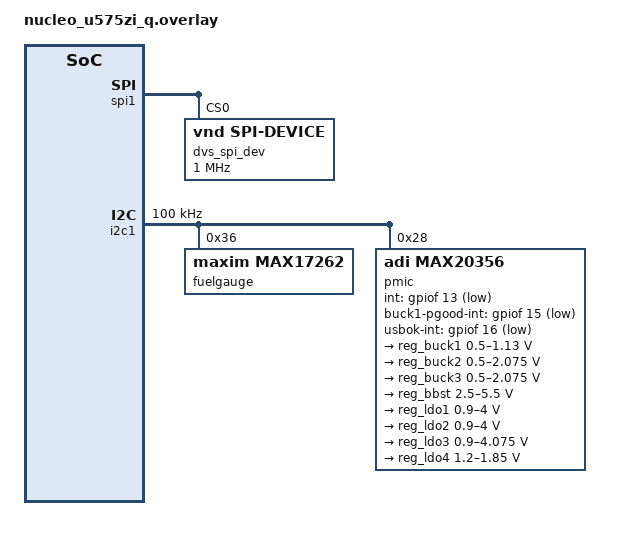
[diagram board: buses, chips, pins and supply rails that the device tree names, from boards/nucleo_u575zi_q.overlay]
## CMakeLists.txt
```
# SPDX-License-Identifier: Apache-2.0

cmake_minimum_required(VERSION 3.28.0)
find_package(Zephyr REQUIRED HINTS $ENV{ZEPHYR_BASE})
project(mfd_max20356)

FILE(GLOB app_sources src/*.c)
target_sources(app PRIVATE ${app_sources})
```

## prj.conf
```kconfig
CONFIG_PM_DEVICE=y
CONFIG_STDOUT_CONSOLE=y
CONFIG_CBPRINTF_FP_SUPPORT=y
CONFIG_I2C=y
CONFIG_MFD=y
CONFIG_GPIO=y
CONFIG_CHARGER=y
CONFIG_SENSOR=y
CONFIG_REGULATOR=y
CONFIG_SPI=y
CONFIG_MAX20356_TRIGGER_OWN_THREAD=y
CONFIG_LOG_DEFAULT_LEVEL=4
```

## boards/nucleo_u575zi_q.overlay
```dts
/*
 * Copyright (c) 2026 Analog Devices Inc
 *
 * SPDX-License-Identifier: Apache-2.0
 *
 * Hardware configuration spec for the MAX20356 PMIC validation sample. Every
 * rail of the part is instantiated and a broad subset of the device-, charger-
 * and regulator-level init options is exercised so a probe can confirm the I2C
 * writes reached the chip.
 *
 * DVS: buck1/buck3 use I2C DVS (Mode 0) so their setpoint is software-driven and
 * probe-able; buck2 uses GPIO DVS (Mode 1) with an MPC pin pair selecting one of
 * four presets. SPI DVS (Mode 2) is intentionally not used here as it needs
 * MPC0/1/2 wired to an SPI controller.
 *
 * Each lockable rail (bucks, buck-boost, LDOs) sets adi,lock-enable so the
 * driver wraps register writes in the password sequence; this guarantees the
 * writes land even if the rail powered up OTP-locked, so a return of 0 from the
 * regulator API means the register actually changed.
 */

#include <zephyr/dt-bindings/i2c/i2c.h>
#include <zephyr/dt-bindings/mfd/max20356.h>

/* SPI DVS (Mode 2) target for buck3. On hardware the controller's CS/SCLK/DIN
 * must be wired to the PMIC's MPC0/MPC1/MPC2 pins. CONFIG_SPI must be set so the
 * SPI controller driver is built; otherwise SPI_DT_SPEC_GET references an
 * undefined controller device struct and the link fails.
 */
&spi1 {
	status = "okay";

	dvs_spi_dev: dvs-spi-dev@0 {
		compatible = "vnd,spi-device";
		reg = <0>;
		spi-max-frequency = <1000000>;
	};
};

dev: &i2c1 {
	status = "okay";
	clock-frequency = <I2C_BITRATE_STANDARD>;

	fuelgauge: max17262@36 {
		compatible = "maxim,max17262";
		reg = <0x36>;
		design-voltage = <3600>;
		desired-voltage = <3600>;
		desired-charging-current = <2000>;
		design-cap = <17000>;
		empty-voltage = <3300>;
		recovery-voltage = <3880>;
		charge-voltage = <3600>;
		status = "okay";
	};

	pmic: max20356@28 {
		compatible = "adi,max20356";
		reg = <0x28>;
		status = "okay";
		int-gpios = <&gpiof 13 GPIO_ACTIVE_LOW>;

		/* SPI DVS (Mode 2) controller, wired to MPC0/MPC1/MPC2; shared by
		 * any buck child selecting adi,dvs-mode = "spi" (here buck3).
		 */
		spi-dvs = <&dvs_spi_dev>;

		/* MPC-routed interrupt watch lines (buck1-PGOOD / USBOK). */
		adi,buck1-pgood-int-gpios = <&gpiof 15 GPIO_ACTIVE_LOW>;
		adi,usbok-int-gpios = <&gpiof 16 GPIO_ACTIVE_LOW>;

		/* Device-level init: PwrCfg and MiscFunctions bits. */
		adi,intb-unmasked-in-shutdown;
		adi,active-discharge-constant;
		adi,rtc-ldo-off;
		adi,factory-mode-disabled;
		adi,ivmon-high-impedance;

		/* Input-limiter / SYS-regulation init block. */
		adi,input-current-limit-milliamp = <300>;
		adi,input-current-limit-max-milliamp = <450>;
		adi,input-current-limit-blanking-microsec = <1000>;
		adi,sys-discharge-in-recovery;
		adi,sys-min-voltage-microvolt = <3600000>;
		adi,sys-uvlo-threshold-microvolt = <3000000>;

		/* Boot / reset init block. */
		adi,power-reset-config = <5>;
		adi,soft-reset-keeps-registers;
		adi,boot-delay-milliseconds = <80>;
		adi,sys-uvlo-auto-retry;

		wdt: watchdog {
			compatible = "adi,max20356-watchdog";
			adi,lock-enable;
		};

		gpio_mpc: gpio {
			compatible = "adi,max20356-gpio";
			gpio-controller;
			#gpio-cells = <2>;
			/* MPC3/MPC5 (buck2 GPIO DVS) and MPC6/MPC7 (rail enable
			 * routing) are consumed below, so expose only MPC0,1,2,4
			 * as GPIOs here is not possible per-pin; ngpios covers the
			 * controller and the driver rejects double-claimed pins.
			 */
			ngpios = <8>;
		};

		charger: charger {
			compatible = "adi,max20356-charger";

			/* Core CC/CV setpoints (standard charger API). */
			constant-charge-current-microamp = <100000>;
			constant-charge-voltage-microvolt = <4200000>;

			/* CC zones and control bits. */
			adi,cc1-enable;
			adi,cc2-charge-current-microamp = <200000>;
			adi,charge-autostop;
			adi,charge-auto-restart;
			adi,cc1-timer-limit;

			/* Recharge / precharge / done thresholds. */
			adi,recharge-threshold-microvolt = <100000>;
			adi,precharge-voltage-microvolt = <3000000>;
			adi,precharge-current-percent = <10>;
			adi,charge-done-current-percent = <10>;

			/* Safety timers. */
			adi,maintain-charge-timer-minutes = <30>;
			adi,precharge-timer-minutes = <60>;
			adi,cc1-fastcharge-timer-minutes = <120>;
			adi,safety-timer-minutes = <300>;

			/* Step charge. */
			adi,step-charge-hysteresis-microvolt = <300000>;
			adi,step-charge-rise-microvolt = <4000000>;

			/* JEITA thermal zones. */
			adi,cool-cc1-current-percent = <50>;
			adi,cool-batreg-offset-microvolt = <100000>;
			adi,cool-cc2-current-percent = <50>;
			adi,room-cc1-current-percent = <100>;
			adi,room-batreg-offset-microvolt = <0>;
			adi,room-cc2-current-percent = <100>;
			adi,warm-cc1-current-percent = <50>;
			adi,warm-batreg-offset-microvolt = <100000>;
			adi,warm-cc2-current-percent = <50>;
			adi,jeita-t1-cc1-celsius = <0>;
			adi,jeita-t2-cc1-celsius = <10>;
			adi,jeita-t3-cc1-celsius = <45>;
			adi,jeita-t4-cc1-celsius = <45>;
			adi,thermal-limit-celsius = <100>;
			adi,thermistor-pullup-ohms = <10000>;
			adi,thermistor-monitoring-mode = <3>;
		};

		regulators {
			compatible = "adi,max20356-regulator";

			/* MPC enable routing: MPC6 -> LSW2, MPC7 -> LSW3. These
			 * two rails are therefore enable-controlled by hardware
			 * (and sit in sequencing slot 7); the sample does not
			 * software-toggle them. Pins 0..2 are free, 3/5 are the
			 * buck2 GPIO DVS pair, 4 is free.
			 */
			adi,mpc-enable-rails =
				<MAX20356_MPC_NONE MAX20356_MPC_NONE MAX20356_MPC_NONE
				 MAX20356_MPC_NONE MAX20356_MPC_NONE MAX20356_MPC_NONE
				 MAX20356_MPC_LSW2 MAX20356_MPC_LSW3>;

			reg_buck1: buck1 {
				/* 10mV step -> 0.5-1.13V range. */
				adi,buck-voltage-step-microvolt = <10000>;
				regulator-min-microvolt = <500000>;
				regulator-max-microvolt = <1130000>;
				regulator-boot-on;
				adi,lock-enable;
				adi,sequence-slot = <1>;
				adi,buck-low-emi;
				adi,buck-forced-pwm;
				adi,buck-pgood-enable;
				adi,buck-passive-discharge;
				regulator-active-discharge = <1>;
			};

			reg_buck2: buck2 {
				/* 25mV step -> 0.5-2.075V range, GPIO DVS. */
				adi,buck-voltage-step-microvolt = <25000>;
				adi,dvs-mode = "gpio";
				adi,dvs-mpc-pair = <3 5>;
				adi,dvs-voltages =
					<1000000 1100000 1200000 1300000>;
				adi,dvs-valley-current-microamp = <1000000>;
				regulator-min-microvolt = <500000>;
				regulator-max-microvolt = <2075000>;
				adi,lock-enable;
				adi,buck-dvs-ipmax;
				adi,buck-low-bandwidth;
				adi,buck-force-dcm;
			};

			reg_buck3: buck3 {
				/* 25mV step -> 0.5-2.075V range, SPI DVS (Mode 2).
				 * The setpoint is clocked to the buck as a
				 * command byte over the parent's spi-dvs
				 * controller, whose CS/SCLK/DIN must be wired to
				 * MPC0/MPC1/MPC2.
				 */
				adi,buck-voltage-step-microvolt = <25000>;
				adi,dvs-mode = "spi";
				regulator-min-microvolt = <500000>;
				regulator-max-microvolt = <2075000>;
				adi,lock-enable;
				adi,buck-fast;
			};

			reg_bbst: buckboost {
				regulator-min-microvolt = <2500000>;
				regulator-max-microvolt = <5500000>;
				adi,lock-enable;
				adi,bbst-low-emi;
				adi,bbst-fast;
				adi,bbst-ramp-enable;
				adi,bbst-passive-discharge;
				adi,bbst-fhigh-threshold-kilohertz = <50>;
				regulator-active-discharge = <1>;
			};

			reg_ldo1: ldo1 {
				/* 0.9-4.0V, linear-regulator mode. */
				regulator-min-microvolt = <900000>;
				regulator-max-microvolt = <4000000>;
				regulator-initial-mode = <MAX20356_MODE_LDO>;
				regulator-allowed-modes =
					<MAX20356_MODE_LDO MAX20356_MODE_LOAD_SWITCH>;
				adi,lock-enable;
				adi,ldo1-passive-discharge;
			};

			reg_ldo2: ldo2 {
				/* 0.9-4.0V, load-switch mode selectable at runtime. */
				regulator-min-microvolt = <900000>;
				regulator-max-microvolt = <4000000>;
				regulator-initial-mode = <MAX20356_MODE_LOAD_SWITCH>;
				regulator-allowed-modes =
					<MAX20356_MODE_LDO MAX20356_MODE_LOAD_SWITCH>;
				adi,lock-enable;
				adi,ldo2-passive-discharge;
			};

			reg_ldo3: ldo3 {
				/* 0.9-4.075V, 25mV step. */
				regulator-min-microvolt = <900000>;
				regulator-max-microvolt = <4075000>;
				adi,lock-enable;
				adi,sequence-slot = <5>;
				adi,ldo3-no-clip-protection;
				adi,ldo3-passive-discharge;
			};

			reg_ldo4: ldo4 {
				/* RTC LDO: fixed voltage set. */
				regulator-min-microvolt = <1200000>;
				regulator-max-microvolt = <1850000>;
				adi,lock-enable;
				adi,ldo4-passive-discharge;
			};

			reg_lsw1: lsw1 {
				/* Load switch, software-enabled, non-lockable. */
				adi,lsw-low-iq;
				adi,lsw-passive-discharge;
			};

			reg_lsw2: lsw2 {
				/* Enable routed to MPC6; slot 7 required. */
				adi,sequence-slot = <7>;
			};

			reg_lsw3: lsw3 {
				/* Enable routed to MPC7; slot 7 required. */
				adi,sequence-slot = <7>;
			};
		};
	};
};
```

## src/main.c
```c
/*
 * Copyright (c) 2026 Analog Devices Inc.
 *
 * SPDX-License-Identifier: Apache-2.0
 *
 * MAX20356 PMIC validation sample
 */

#include <zephyr/kernel.h>
#include <zephyr/device.h>
#include <zephyr/drivers/charger.h>
#include <zephyr/drivers/gpio.h>
#include <zephyr/drivers/sensor.h>
#include <zephyr/drivers/regulator.h>
#include <zephyr/drivers/regulator/max20356.h>
#include <zephyr/dt-bindings/mfd/max20356.h>
#include <sys/errno.h>
#include <stdio.h>

static const char *now_str(void)
{
	static char buf[16]; /* ...HH:MM:SS.MMM */
	uint32_t now = k_uptime_get_32();
	unsigned int ms = now % MSEC_PER_SEC;
	unsigned int s;
	unsigned int min;
	unsigned int h;

	now /= MSEC_PER_SEC;
	s = now % 60U;
	now /= 60U;
	min = now % 60U;
	now /= 60U;
	h = now;

	snprintf(buf, sizeof(buf), "%u:%02u:%02u.%03u", h, min, s, ms);
	return buf;
}

/* Classify a driver return code for a single write attempt. A rail that does
 * not implement an operation returns -ENOTSUP or -ENOSYS; that is expected
 * coverage, not a failure.
 */
static bool write_failed(int ret)
{
	return (ret != 0) && (ret != -ENOTSUP) && (ret != -ENOSYS);
}

static const char *write_result(int ret)
{
	if (ret == 0) {
		return "ok";
	}

	if ((ret == -ENOTSUP) || (ret == -ENOSYS)) {
		return "n/a";
	}

	return "FAIL";
}

struct rail {
	const struct device *dev;
	const char *name;
	/* set_voltage target in microvolts; 0 skips the call. */
	int32_t target_uv;
	/* set_current_limit target in microamps; 0 skips the call. */
	int32_t target_ua;
	/* Exercise set_mode (LDO1/LDO2 only). */
	bool toggle_mode;
	/* Enable is routed to an MPC pin in the overlay; the host must not drive
	 * the enable field over I2C, so skip the software enable/disable.
	 */
	bool mpc_enabled;
};

#define RAIL(label, nm, uv, ua, mode, mpc)                                                         \
	{                                                                                          \
		.dev = DEVICE_DT_GET_OR_NULL(DT_NODELABEL(label)), .name = (nm),                    \
		.target_uv = (uv), .target_ua = (ua), .toggle_mode = (mode), .mpc_enabled = (mpc), \
	}

static const struct rail rails[] = {
	/*         label      name         target_uv  target_ua  mode   mpc  */
	RAIL(reg_buck1, "buck1 (I2C DVS)", 1000000, 200000, false, false),
	RAIL(reg_buck2, "buck2 (GPIO DVS)", 0, 200000, false, false),
	RAIL(reg_buck3, "buck3 (SPI DVS)", 1800000, 200000, false, false),
	RAIL(reg_bbst, "buckboost", 3300000, 200000, false, false),
	RAIL(reg_ldo1, "ldo1", 1800000, 0, true, false),
	RAIL(reg_ldo2, "ldo2", 3300000, 0, true, false),
	RAIL(reg_ldo3, "ldo3", 2500000, 0, false, false),
	RAIL(reg_ldo4, "ldo4 (RTC)", 1800000, 0, false, false),
	RAIL(reg_lsw1, "lsw1", 0, 0, false, false),
	RAIL(reg_lsw2, "lsw2 (MPC6 enable)", 0, 0, false, true),
	RAIL(reg_lsw3, "lsw3 (MPC7 enable)", 0, 0, false, true),
};

static int validate_rail(const struct rail *rail)
{
	int failures = 0;
	int ret;

	if (rail->dev == NULL) {
		printk("[%s]: %s: not present in devicetree, skipping\n", now_str(), rail->name);
		return 0;
	}

	if (!device_is_ready(rail->dev)) {
		printk("[%s]: %s: device not ready\n", now_str(), rail->name);
		return 1;
	}

	printk("[%s]: %s: validating I2C write operations\n", now_str(), rail->name);

	if (!rail->mpc_enabled) {
		ret = regulator_enable(rail->dev);
		printk("[%s]:   enable                 -> %s (%d)\n", now_str(), write_result(ret),
		       ret);
		failures += write_failed(ret) ? 1 : 0;
	} else {
		printk("[%s]:   enable                 -> skipped (MPC-controlled)\n", now_str());
	}

	if (rail->target_uv != 0) {
		ret = regulator_set_voltage(rail->dev, rail->target_uv, rail->target_uv);
		printk("[%s]:   set_voltage(%d)   -> %s (%d)\n", now_str(), rail->target_uv,
		       write_result(ret), ret);
		failures += write_failed(ret) ? 1 : 0;
	}

	if (rail->target_ua != 0) {
		ret = regulator_set_current_limit(rail->dev, rail->target_ua, rail->target_ua);
		printk("[%s]:   set_current_limit(%d) -> %s (%d)\n", now_str(), rail->target_ua,
		       write_result(ret), ret);
		failures += write_failed(ret) ? 1 : 0;
	}

	if (rail->toggle_mode) {
		ret = regulator_set_mode(rail->dev, MAX20356_MODE_LOAD_SWITCH);
		printk("[%s]:   set_mode(load switch)  -> %s (%d)\n", now_str(), write_result(ret),
		       ret);
		failures += write_failed(ret) ? 1 : 0;

		ret = regulator_set_mode(rail->dev, MAX20356_MODE_LDO);
		printk("[%s]:   set_mode(ldo)          -> %s (%d)\n", now_str(), write_result(ret),
		       ret);
		failures += write_failed(ret) ? 1 : 0;
	}

	ret = regulator_set_active_discharge(rail->dev, true);
	printk("[%s]:   set_active_discharge   -> %s (%d)\n", now_str(), write_result(ret), ret);
	failures += write_failed(ret) ? 1 : 0;

	/* Read back the configured voltage to correlate with a probe. A load
	 * switch and a GPIO-DVS buck report -ENOTSUP here, which is expected.
	 */
	{
		int32_t volt_uv;

		ret = regulator_get_voltage(rail->dev, &volt_uv);
		if (ret == 0) {
			printk("[%s]:   get_voltage            -> %d uV\n", now_str(), volt_uv);
		}
	}

	return failures;
}

static int validate_regulators(void)
{
	int failures = 0;

	printk("[%s]: === MAX20356 regulator validation ===\n", now_str());

	ARRAY_FOR_EACH_PTR(rails, rail) {
		failures += validate_rail(rail);
	}

	if (failures == 0) {
		printk("[%s]: Regulator validation PASSED: all I2C writes accepted\n", now_str());
	} else {
		printk("[%s]: Regulator validation FAILED: %d write(s) rejected\n", now_str(),
		       failures);
	}

	return failures;
}

/* Exercise the SPI DVS public API. buck3 is configured for SPI DVS (Mode 2) in
 * the overlay, so a direct regulator_max20356_spi_set_voltage() clocks a command
 * byte to the part over the parent's spi-dvs controller and the setpoint is read
 * back from the mirrored Buck3DvsSpi register over I2C. buck1 (I2C DVS) is used
 * to confirm the API rejects a rail that is not in SPI DVS mode.
 */
static int validate_spi_dvs(void)
{
	const struct device *buck3 = DEVICE_DT_GET_OR_NULL(DT_NODELABEL(reg_buck3));
	const struct device *buck1 = DEVICE_DT_GET_OR_NULL(DT_NODELABEL(reg_buck1));
	int failures = 0;
	int ret;

	printk("[%s]: === MAX20356 SPI DVS validation ===\n", now_str());

	if ((buck3 == NULL) || !device_is_ready(buck3)) {
		printk("[%s]: buck3 not ready, skipping SPI DVS test\n", now_str());
		return 0;
	}

	/* 1.00V on a 25mV/0.5V-base buck => VLT code 20. */
	ret = regulator_max20356_spi_set_voltage(buck3, 1500000, 1500000);
	printk("[%s]: buck3 spi_set_voltage(1500000) -> %s (%d)\n", now_str(), write_result(ret),
	       ret);
	failures += write_failed(ret) ? 1 : 0;

	if (ret == 0) {
		int32_t volt_uv;

		ret = regulator_get_voltage(buck3, &volt_uv);
		if (ret == 0) {
			printk("[%s]:   get_voltage (readback) -> %d uV\n", now_str(), volt_uv);
			if (volt_uv != 1500000) {
				printk("[%s]:   readback mismatch (expected 1000000)\n", now_str());
				failures++;
			}
		}
	}

	/* A rail that is not in SPI DVS mode must be rejected with -ENOTSUP. */
	if ((buck1 != NULL) && device_is_ready(buck1)) {
		ret = regulator_max20356_spi_set_voltage(buck1, 1000000, 1000000);
		printk("[%s]: buck1 spi_set_voltage (non-SPI) -> %s (%d)\n", now_str(),
		       (ret == -ENOTSUP) ? "ok" : "FAIL", ret);
		failures += (ret == -ENOTSUP) ? 0 : 1;
	}

	if (failures == 0) {
		printk("[%s]: SPI DVS validation PASSED\n", now_str());
	} else {
		printk("[%s]: SPI DVS validation FAILED: %d check(s) failed\n", now_str(),
		       failures);
	}

	return failures;
}

/* Exercise GPIO DVS. buck2 is configured for GPIO DVS (Mode 1) in the overlay:
 * the PMIC samples the live state of an MPC pin pair (adi,dvs-mpc-pair = <3 5>)
 * to select one of four preset voltages (adi,dvs-voltages, loaded into
 * Buck2DvsVlt0..3 at init). MPC3 is the low select bit and MPC5 the high select
 * bit, so the select state picks the preset as 00->preset0 .. 11->preset3.
 *
 * The host drives the two select pins over I2C through the parent's MPC GPIO
 * controller. A direct regulator_set_voltage() on a GPIO-DVS buck is -ENOTSUP
 * (the live value is pin-selected, not a single setpoint), so this walks the four
 * select states and prints the preset each selects for correlation with a probe.
 */
#define GPIO_DVS_LOW_PIN  3
#define GPIO_DVS_HIGH_PIN 5

static const int32_t gpio_dvs_presets[4] = {1000000, 1100000, 1200000, 1300000};

static int validate_gpio_dvs(void)
{
	const struct device *buck2 = DEVICE_DT_GET_OR_NULL(DT_NODELABEL(reg_buck2));
	const struct device *gpio = DEVICE_DT_GET_OR_NULL(DT_NODELABEL(gpio_mpc));
	int failures = 0;
	int ret;

	printk("[%s]: === MAX20356 GPIO DVS validation ===\n", now_str());

	if ((buck2 == NULL) || !device_is_ready(buck2)) {
		printk("[%s]: buck2 not ready, skipping GPIO DVS test\n", now_str());
		return 0;
	}

	if ((gpio == NULL) || !device_is_ready(gpio)) {
		printk("[%s]: MPC GPIO controller not ready, skipping GPIO DVS test\n", now_str());
		return 0;
	}

	/* A direct setpoint must be rejected on a GPIO-DVS buck. */
	ret = regulator_set_voltage(buck2, 1000000, 1000000);
	printk("[%s]: buck2 set_voltage (GPIO DVS) -> %s (%d)\n", now_str(),
	       (ret == -ENOTSUP) ? "ok" : "FAIL", ret);
	failures += (ret == -ENOTSUP) ? 0 : 1;

	/* Drive the select pins as outputs so the host owns the DVS state. */
	ret = gpio_pin_configure(gpio, GPIO_DVS_LOW_PIN, GPIO_OUTPUT_LOW);
	failures += write_failed(ret) ? 1 : 0;
	ret = gpio_pin_configure(gpio, GPIO_DVS_HIGH_PIN, GPIO_OUTPUT_LOW);
	failures += write_failed(ret) ? 1 : 0;

	/* Walk 00, 01, 10, 11: the select state indexes the preset table. */
	for (uint8_t sel = 0U; sel < 4U; sel++) {
		int low = (sel & BIT(0)) != 0U;
		int high = (sel & BIT(1)) != 0U;

		ret = gpio_pin_set(gpio, GPIO_DVS_LOW_PIN, low);
		failures += write_failed(ret) ? 1 : 0;
		ret = gpio_pin_set(gpio, GPIO_DVS_HIGH_PIN, high);
		failures += write_failed(ret) ? 1 : 0;

		printk("[%s]:   select %d%d (MPC%d=%d MPC%d=%d) -> preset %u = %d uV\n", now_str(),
		       high, low, GPIO_DVS_HIGH_PIN, high, GPIO_DVS_LOW_PIN, low, sel,
		       gpio_dvs_presets[sel]);

		/* Let the rail settle so a probe can sample each preset. */
		k_sleep(K_MSEC(100));
	}

	if (failures == 0) {
		printk("[%s]: GPIO DVS validation PASSED\n", now_str());
	} else {
		printk("[%s]: GPIO DVS validation FAILED: %d check(s) failed\n", now_str(),
		       failures);
	}

	return failures;
}

static int read_charger_properties(const struct device *chgdev)
{
	union charger_propval val;
	int ret;

	printk("[%s]: Charger \"%s\": reading configuration\n", now_str(), chgdev->name);

	ret = charger_get_prop(chgdev, CHARGER_PROP_CONSTANT_CHARGE_CURRENT_UA, &val);
	if (ret != 0) {
		printk("[%s]: Error getting constant charge current! ret %d\n", now_str(), ret);
		return ret;
	}
	printk("[%s]:   Constant charge current: %d uA\n", now_str(),
	       val.const_charge_current_ua);

	ret = charger_get_prop(chgdev, CHARGER_PROP_CONSTANT_CHARGE_VOLTAGE_UV, &val);
	if (ret != 0) {
		printk("[%s]: Error getting charge voltage! ret %d\n", now_str(), ret);
		return ret;
	}
	printk("[%s]:   Charge termination voltage: %d uV\n", now_str(),
	       val.const_charge_voltage_uv);

	ret = charger_charge_enable(chgdev, true);
	if (ret != 0) {
		printk("[%s]: Failed to enable charger! ret %d\n", now_str(), ret);
		return ret;
	}

	return 0;
}

static int monitor_charger_status(const struct device *chgdev)
{
	union charger_propval val;
	int ret;

	ret = charger_get_prop(chgdev, CHARGER_PROP_ONLINE, &val);
	if (ret != 0) {
		printk("[%s]: Error getting online status! ret %d\n", now_str(), ret);
		return ret;
	}
	printk("[%s]: Online: Charger is %s.\n", now_str(),
	       (val.online == CHARGER_ONLINE_FIXED) ? "active" : "offline");

	ret = charger_get_prop(chgdev, CHARGER_PROP_STATUS, &val);
	if (ret != 0) {
		printk("[%s]: Error getting charging status! ret %d\n", now_str(), ret);
		return ret;
	}

	switch (val.status) {
	case CHARGER_STATUS_NOT_CHARGING:
		printk("[%s]: Status: Not charging.\n", now_str());
		break;
	case CHARGER_STATUS_CHARGING:
		printk("[%s]: Status: Charging.\n", now_str());
		break;
	case CHARGER_STATUS_FULL:
		printk("[%s]: Status: Charge complete.\n", now_str());
		break;
	case CHARGER_STATUS_DISCHARGING:
		printk("[%s]: Status: Discharging.\n", now_str());
		break;
	default:
		printk("[%s]: Status: Unknown.\n", now_str());
	}

	ret = charger_get_prop(chgdev, CHARGER_PROP_HEALTH, &val);
	if (ret != 0) {
		printk("[%s]: Error getting health! ret %d\n", now_str(), ret);
		return ret;
	}
	printk("[%s]: Health code: %d\n", now_str(), val.health);

	return 0;
}

static int monitor_fuel_gauge_status(const struct device *flgdev)
{
	struct sensor_value val;
	int ret;

	ret = sensor_sample_fetch(flgdev);
	if (ret != 0) {
		printk("[%s]: Error fetching fuel gauge sample! ret %d\n", now_str(), ret);
		return ret;
	}

	ret = sensor_channel_get(flgdev, SENSOR_CHAN_GAUGE_VOLTAGE, &val);
	if (ret != 0) {
		printk("[%s]: Error getting fuel gauge voltage! ret %d\n", now_str(), ret);
		return ret;
	}
	printk("[%s]: Fuel gauge voltage: %d.%06d V\n", now_str(), val.val1, val.val2);

	ret = sensor_channel_get(flgdev, SENSOR_CHAN_GAUGE_STATE_OF_CHARGE, &val);
	if (ret != 0) {
		printk("[%s]: Error getting fuel gauge SoC! ret %d\n", now_str(), ret);
		return ret;
	}
	printk("[%s]: Fuel gauge SoC: %d%%\n", now_str(), val.val1);

	return 0;
}

/* How long to wait for the charger status change to propagate through INTB and
 * the parent's trigger thread into the notifier callback.
 */
#define INTB_SETTLE_MS 200

/* Incremented from the charger status notifier, dispatched from the parent's INTB
 * trigger context (never an ISR), so a plain counter read from the main thread is
 * adequate for this test.
 */
static volatile uint32_t chg_status_notifications;

/* Charger status change notification. Reaching this proves the whole INTB path
 * worked: PMIC INTB pin -> host GPIO IRQ -> parent Int0-5 decode -> charger
 * event callback.
 */
static void chg_status_cb(enum charger_status status)
{
	ARG_UNUSED(status);

	chg_status_notifications++;
}

/* Self-test the INTB pin using the charger status interrupt, which is the only
 * INTB source triggerable purely over I2C: install a status notifier (which
 * unmasks ChgStatInt onto INTB via the parent), then toggle charge enable to
 * provoke a charger state change. A notification confirms the INTB pin and the
 * whole trigger path function.
 */
static int validate_intb(const struct device *chgdev)
{
	union charger_propval notif = {.status_notification = chg_status_cb};
	union charger_propval none = {.status_notification = NULL};
	int ret;

	printk("[%s]: === MAX20356 INTB self-test (charger status) ===\n", now_str());

	chg_status_notifications = 0U;

	ret = charger_set_prop(chgdev, CHARGER_PROP_STATUS_NOTIFICATION, &notif);
	if (ret != 0) {
		printk("[%s]: install status notifier failed: %d\n", now_str(), ret);
		return ret;
	}

	printk("[%s]: Enabled Status Notifier", now_str());

	/* Toggle charge enable to force a charger state transition, which latches
	 * ChgStatInt and asserts INTB.
	 */
	(void)charger_charge_enable(chgdev, false);
	k_sleep(K_MSEC(INTB_SETTLE_MS));
	(void)charger_charge_enable(chgdev, true);
	k_sleep(K_MSEC(INTB_SETTLE_MS));

	if (chg_status_notifications > 0U) {
		printk("[%s]: INTB self-test PASSED: %u notification(s)\n", now_str(),
		       chg_status_notifications);
	} else {
		/* Soft result: with no battery or charge source attached on the
		 * bench, a charge-enable toggle may not change the charger state,
		 * so no interrupt is raised. This is not a wiring failure.
		 */
		printk("[%s]: INTB self-test: no notification observed (expected if no "
		       "charge source is attached)\n",
		       now_str());
	}

	/* Drop the notifier so INTB is left free for exclusive consumers. */
	(void)charger_set_prop(chgdev, CHARGER_PROP_STATUS_NOTIFICATION, &none);

	return 0;
}

int main(void)
{
	const struct device *pmic = DEVICE_DT_GET_OR_NULL(DT_NODELABEL(pmic));
	const struct device *chgdev = DEVICE_DT_GET_OR_NULL(DT_NODELABEL(charger));
	const struct device *flgdev = DEVICE_DT_GET_OR_NULL(DT_NODELABEL(fuelgauge));
	int ret;

	/* The charger and regulator rails route their register access through the
	 * MFD parent, so it must be up before any child is usable. Its init
	 * priority (CONFIG_MFD_INIT_PRIORITY) runs ahead of the children, but
	 * check it here to fail early and clearly if the parent did not come up.
	 */
	if ((pmic == NULL) || !device_is_ready(pmic)) {
		printk("[%s]: MFD parent (MAX20356) not ready\n", now_str());
		return -ENODEV;
	}

	if ((chgdev == NULL) || !device_is_ready(chgdev)) {
		printk("[%s]: charger device not ready\n", now_str());
		return -ENODEV;
	}

	if ((flgdev == NULL) || !device_is_ready(flgdev)) {
		printk("[%s]: fuel gauge device not ready\n", now_str());
		return -ENODEV;
	}

	ret = validate_regulators();
	if (ret != 0) {
		return ret;
	}

	ret = validate_spi_dvs();
	if (ret != 0) {
		return ret;
	}

	ret = validate_gpio_dvs();
	if (ret != 0) {
		return ret;
	}

	/* INTB pin self-test: the charger status interrupt is triggerable purely
	 * over I2C. The watchdog alert (which claims INTB exclusively) is a separate,
	 * mutually exclusive sample under watchdog/.
	 */
	ret = validate_intb(chgdev);
	if (ret != 0) {
		return ret;
	}

	ret = read_charger_properties(chgdev);
	if (ret != 0) {
		return ret;
	}

	while (1) {
		ret = monitor_charger_status(chgdev);
		if (ret != 0) {
			return ret;
		}

		ret = monitor_fuel_gauge_status(flgdev);
		if (ret != 0) {
			return ret;
		}

		printk("\n");
		k_sleep(K_SECONDS(1));
	}

	return 0;
}
```
